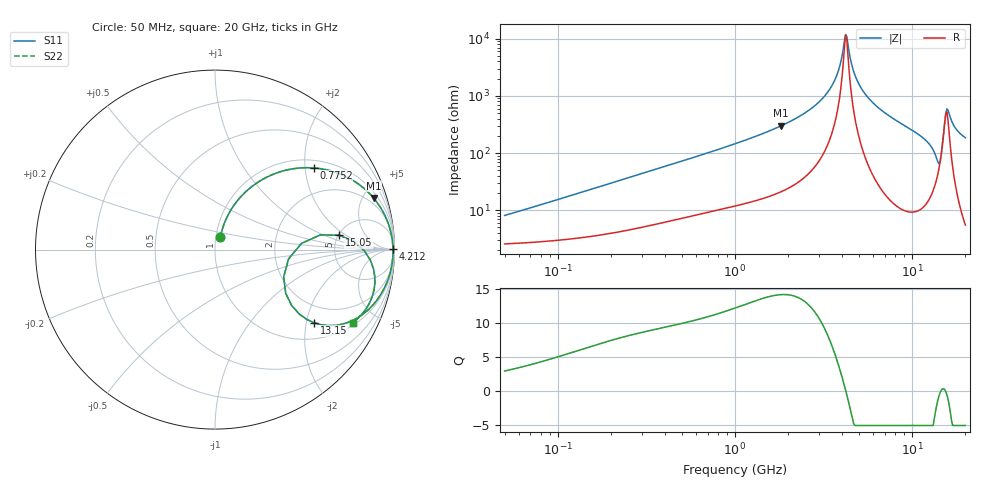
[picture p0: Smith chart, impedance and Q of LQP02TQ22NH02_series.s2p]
!Murata Part Number: LQP02TQ22NH02
!These Parameters are Measured in Series Mode Connection
!  o--[Z]--o
!Port1  Port2
!  o-------o
!Freq. Start=50[MHz] Stop=20[GHz], 401[Steps]
# Hz S RI R 50
!Freq.(Hz) S11(Real) S11(Imag) S21(Real) S21(Imag) S12(Real) S12(Imag) S22(Real) S22(Imag)
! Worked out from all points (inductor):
!   401 points, 50 MHz to 20 GHz, reference 50 ohm
!   read as one part in series: L = 24.3 nH near 51.52 MHz
!   highest Q = 14.2 at 1.821 GHz (marker M1), where L = 26.1 nH
!   self-resonance near 4.212 GHz
!   S11 on the Smith chart (normalised r, x): 50 MHz: 1.05, +0.15; 775.2 MHz: 1.20, +2.22; 4.212 GHz: open; 13.15 GHz: 1.44, -2.23; 15.05 GHz: 5.07, +1.58; 20 GHz: 1.11, -3.71
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5e7  0.0305 0.0726  0.9695 -0.0726  0.9695 -0.0726  0.0305 0.0726
1.364002e8  0.0685 0.1842  0.9315 -0.1842  0.9315 -0.1842  0.0685 0.1842
3.721004e8  0.2496 0.3819  0.7504 -0.3819  0.7504 -0.3819  0.2496 0.3819
7.751977e8  0.549 0.4552  0.451 -0.4552  0.451 -0.4552  0.549 0.4552
1e9  0.6653 0.4327  0.3347 -0.4327  0.3347 -0.4327  0.6653 0.4327
1.820564e9  0.8832 0.2879  0.1168 -0.2879  0.1168 -0.2879  0.8832 0.2879
2.728004e9  0.9625 0.1533  0.0375 -0.1533  0.0375 -0.1533  0.9625 0.1533
3.626126e9  0.9876 0.0543  0.0124 -0.0543  0.0124 -0.0543  0.9876 0.0543
3.850025e9  0.99 0.0333  0.01 -0.0333  0.01 -0.0333  0.99 0.0333
4.212059e9  0.9917 0.00146  0.00825 -0.00146  0.00825 -0.00146  0.9917 0.00146
4.34015e9  0.9919 -0.0092  0.00815 0.0092  0.00815 0.0092  0.9919 -0.0092
4.677679e9  0.991 -0.036  0.00897 0.036  0.00897 0.036  0.991 -0.036
5.117541e9  0.9879 -0.0686  0.0121 0.0686  0.0121 0.0686  0.9879 -0.0686
7.442007e9  0.9451 -0.2111  0.0549 0.2111  0.0549 0.2111  0.9451 -0.2111
1.082228e10  0.8091 -0.3708  0.1909 0.3708  0.1909 0.3708  0.8091 -0.3708
1.314879e10  0.553 -0.408  0.447 0.408  0.447 0.408  0.553 -0.408
1.417136e10  0.3825 -0.1532  0.6175 0.1532  0.6175 0.1532  0.3825 -0.1532
1.504638e10  0.6912 0.0803  0.3088 -0.0803  0.3088 -0.0803  0.6912 0.0803
1.550395e10  0.8319 -0.00604  0.1681 0.00604  0.1681 0.00604  0.8319 -0.00604
1.597544e10  0.8836 -0.109  0.1164 0.109  0.1164 0.109  0.8836 -0.109
1.747767e10  0.8616 -0.2953  0.1384 0.2953  0.1384 0.2953  0.8616 -0.2953
2e10  0.7682 -0.4074  0.2318 0.4074  0.2318 0.4074  0.7682 -0.4074
